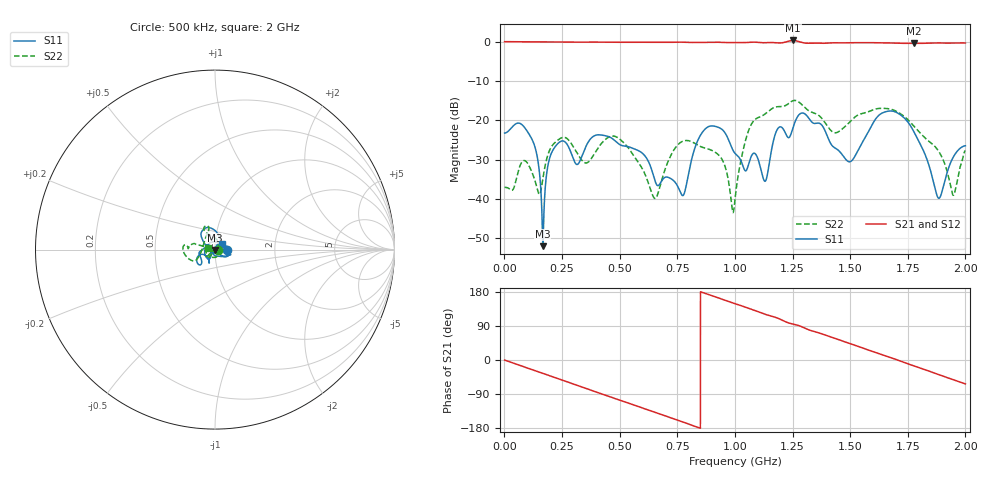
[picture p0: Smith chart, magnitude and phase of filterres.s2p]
# MHz MA S R 50.0
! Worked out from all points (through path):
!   4000 points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, 500 kHz to 2 GHz, reference 50 ohm
!   highest |S21| = 0.32 dB at 1.252 GHz (marker M1); lowest = -0.4 dB at 1.778 GHz (marker M2)
!   group delay of S21, straight-line fit = 587 ps
!   lowest |S11| = -52.1 dB at 166.5 MHz (marker M3), VSWR 1.01, Z = 49.9 - j0.222 ohm
!   |S11| at or under -10 dB: start of sweep to end of sweep
!   |S22| runs from -43.5 to -14.9 dB; largest |S21 - S12| = 0.033
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0.5  0.06871 -0.3  1.002 -0.1  0.9979 -0.1  0.01399 0.7
118  0.05821 -38.6  0.9963 -25.1  0.9978 -25.1  0.02219 -37.1
166.5  0.002496 -117.1  0.9916 -35.4  0.9935 -35.2  0.01811 -156.2
189.5  0.02755 158.9  0.9914 -40.2  0.9916 -40.1  0.03727 -173.1
218.5  0.04557 155.4  0.9916 -46.2  0.991 -46.3  0.05183 179.6
334  0.03376 -129.9  0.9868 -70.8  0.9909 -70.4  0.03144 174.3
483.5  0.05345 176.6  0.984 -102.3  0.983 -102.3  0.06175 -147.5
667  0.01473 -46.5  0.983 -141.0  0.9852 -140.9  0.01198 -151.5
793.5  0.01754 61.5  0.9816 -167.7  0.9808 -167.3  0.05523 -128.3
882.5  0.08221 3.1  0.9765 173.4  0.9806 173.8  0.04318 -88.5
1000.5  0.03787 -73.0  0.9746 148.6  0.9806 149.1  0.009926 -153.8
1073.5  0.03607 174.5  0.9883 133.1  0.9803 133.5  0.09143 164.4
1131  0.01673 -170.3  0.9712 120.7  0.9737 120.8  0.1204 163.8
1183  0.07581 -117.1  0.9665 111.1  0.9651 111.6  0.1486 177.3
1252  0.08031 -160.8  1.038 94.8  1.065 95.7  0.1773 174.0
1333.5  0.0949 -142.5  0.9606 76.9  0.9555 77.4  0.1265 -150.3
1498.5  0.02961 148.4  0.9723 43.5  0.9655 44.7  0.09519 117.3
1667  0.1308 116.2  0.9649 8.2  0.965 9.2  0.1401 114.9
1778  0.07011 66.9  0.9513 -15.7  0.9529 -14.3  0.0829 107.9
1884  0.01016 39.0  0.9651 -38.5  0.964 -37.6  0.04031 52.2
1947.5  0.03402 63.5  0.9628 -52.1  0.9669 -50.9  0.01108 98.9
2000  0.04734 39.4  0.9632 -63.2  0.97 -62.0  0.04101 165.7
